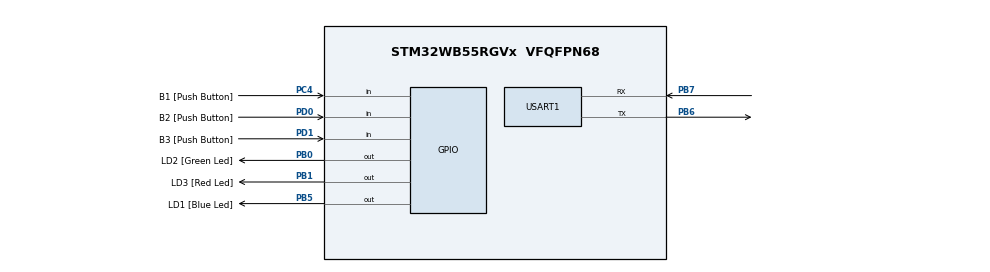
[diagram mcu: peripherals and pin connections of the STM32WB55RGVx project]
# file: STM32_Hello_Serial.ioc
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Mcu.Family=STM32WB
Mcu.Name=STM32WB55RGVx
Mcu.Package=VFQFPN68
NVIC.PriorityGroup=NVIC_PRIORITYGROUP_4
NVIC.USART1_IRQn=true\:0\:0\:false\:false\:true\:true\:true
OSC_IN.Mode=HSE-External-Oscillator
OSC_IN.Signal=RCC_OSC_IN
OSC_OUT.Mode=HSE-External-Oscillator
OSC_OUT.Signal=RCC_OSC_OUT
PA11.Signal=USB_DM
PA12.Signal=USB_DP
PA13.GPIO_Label=JTMS
PA13.Signal=SYS_JTMS-SWDIO
PA14.GPIO_Label=JTCK
PA14.Signal=SYS_JTCK-SWCLK
PB0.GPIO_Label=LD2 [Green Led]
PB0.Signal=GPIO_Output
PB1.GPIO_Label=LD3 [Red Led]
PB1.Signal=GPIO_Output
PB3.GPIO_Label=JTDO
PB3.Signal=SYS_JTDO-SWO
PB5.GPIO_Label=LD1 [Blue Led]
PB5.Signal=GPIO_Output
PB6.Mode=Asynchronous
PB6.Signal=USART1_TX
PB7.Mode=Asynchronous
PB7.Signal=USART1_RX
PC13.Signal=SYS_WKUP2
PC14-OSC32_IN.Signal=RCC_OSC32_IN
PC15-OSC32_OUT.Signal=RCC_OSC32_OUT
PC4.GPIO_Label=B1 [Push Button]
PC4.Signal=GPIO_Input
PD0.GPIO_Label=B2 [Push Button]
PD0.Signal=GPIO_Input
PD1.GPIO_Label=B3 [Push Button]
PD1.Signal=GPIO_Input
ProjectManager.HeapSize=0x200
ProjectManager.StackSize=0x400
ProjectManager.TargetToolchain=Makefile
RCC.ADCFreq_Value=128000000
RCC.AHBFreq_Value=32000000
RCC.APB1Freq_Value=32000000
RCC.APB1TimFreq_Value=32000000
RCC.APB2Freq_Value=32000000
RCC.APB2TimFreq_Value=32000000
RCC.APB3Freq_Value=16000000
RCC.CortexFreq_Value=32000000
RCC.HCLKFreq_Value=32000000
RCC.HSE_VALUE=32000000
RCC.HSI48_VALUE=48000000
RCC.HSI_VALUE=16000000
RCC.LSE_VALUE=32768
RCC.MSIClockRange=RCC_MSIRANGE_10
RCC.SMPSCLockSelectionVirtual=RCC_SMPSCLKSOURCE_HSI
RCC.SYSCLKFreq_VALUE=32000000
RCC.USBFreq_Value=128000000
RCC.VCOOutputFreq_Value=256000000
USART1.VirtualMode-Asynchronous=VM_ASYNC
board=P-NUCLEO-WB55-Nucleo

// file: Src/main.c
/* USER CODE BEGIN Header */
/**
  ******************************************************************************
  * @file           : main.c
  * @brief          : Main program body
  ******************************************************************************
  * @attention
  *
  * <h2><center>&copy; Copyright (c) 2019 STMicroelectronics.
  * All rights reserved.</center></h2>
  *
  * This software component is licensed by ST under BSD 3-Clause license,
  * the "License"; You may not use this file except in compliance with the
  * License. You may obtain a copy of the License at:
  *                        opensource.org/licenses/BSD-3-Clause
  *
  ******************************************************************************
  */
/* USER CODE END Header */

#include "main.h"

UART_HandleTypeDef huart1;

void SystemClock_Config(void);
static void MX_GPIO_Init(void);
static void MX_USART1_UART_Init(void);
/* USER CODE BEGIN PFP */
#ifdef __GNUC__
/* With GCC, small printf (option LD Linker->Libraries->Small printf
   set to 'Yes') calls __io_putchar() */
#define PUTCHAR_PROTOTYPE int __io_putchar(int ch)
#else
#define PUTCHAR_PROTOTYPE int fputc(int ch, FILE *f)
#endif /* __GNUC__ */
void HAL_UART_TxCpltCallback(UART_HandleTypeDef * huart);
/* USER CODE END PFP */

int main(void)
{

  /* MCU Configuration--------------------------------------------------------*/

  /* Reset of all peripherals, Initializes the Flash interface and the Systick. */
  HAL_Init();

  /* Configure the system clock */
  SystemClock_Config();

  /* Initialize all configured peripherals */
  MX_GPIO_Init();
  MX_USART1_UART_Init();
  /* USER CODE BEGIN 2 */

  setbuf(stdout, NULL);
  /* USER CODE END 2 */

  /* Infinite loop */
  while (1)
  {
    printf("\n\r Truth. Love. Plenty. Peace \n\r");
    HAL_Delay(500);
  }
}

void SystemClock_Config(void)
{
  RCC_OscInitTypeDef RCC_OscInitStruct = {0};
  RCC_ClkInitTypeDef RCC_ClkInitStruct = {0};
  RCC_PeriphCLKInitTypeDef PeriphClkInitStruct = {0};

  /** Configure the main internal regulator output voltage
  */
  __HAL_PWR_VOLTAGESCALING_CONFIG(PWR_REGULATOR_VOLTAGE_SCALE1);
  /** Initializes the CPU, AHB and APB busses clocks
  */
  RCC_OscInitStruct.OscillatorType = RCC_OSCILLATORTYPE_HSI|RCC_OSCILLATORTYPE_HSE
                              |RCC_OSCILLATORTYPE_MSI;
  RCC_OscInitStruct.HSEState = RCC_HSE_ON;
  RCC_OscInitStruct.HSIState = RCC_HSI_ON;
  RCC_OscInitStruct.MSIState = RCC_MSI_ON;
  RCC_OscInitStruct.HSICalibrationValue = RCC_HSICALIBRATION_DEFAULT;
  RCC_OscInitStruct.MSICalibrationValue = RCC_MSICALIBRATION_DEFAULT;
  RCC_OscInitStruct.MSIClockRange = RCC_MSIRANGE_10;
  RCC_OscInitStruct.PLL.PLLState = RCC_PLL_NONE;
  if (HAL_RCC_OscConfig(&RCC_OscInitStruct) != HAL_OK)
  {
    Error_Handler();
  }
  /** Configure the SYSCLKSource, HCLK, PCLK1 and PCLK2 clocks dividers
  */
  RCC_ClkInitStruct.ClockType = RCC_CLOCKTYPE_HCLK4|RCC_CLOCKTYPE_HCLK2
                              |RCC_CLOCKTYPE_HCLK|RCC_CLOCKTYPE_SYSCLK
                              |RCC_CLOCKTYPE_PCLK1|RCC_CLOCKTYPE_PCLK2;
  RCC_ClkInitStruct.SYSCLKSource = RCC_SYSCLKSOURCE_MSI;
  RCC_ClkInitStruct.AHBCLKDivider = RCC_SYSCLK_DIV1;
  RCC_ClkInitStruct.APB1CLKDivider = RCC_HCLK_DIV1;
  RCC_ClkInitStruct.APB2CLKDivider = RCC_HCLK_DIV1;
  RCC_ClkInitStruct.AHBCLK2Divider = RCC_SYSCLK_DIV1;
  RCC_ClkInitStruct.AHBCLK4Divider = RCC_SYSCLK_DIV1;

  if (HAL_RCC_ClockConfig(&RCC_ClkInitStruct, FLASH_LATENCY_1) != HAL_OK)
  {
    Error_Handler();
  }
  /** Initializes the peripherals clocks
  */
  PeriphClkInitStruct.PeriphClockSelection = RCC_PERIPHCLK_SMPS|RCC_PERIPHCLK_USART1;
  PeriphClkInitStruct.Usart1ClockSelection = RCC_USART1CLKSOURCE_PCLK2;
  PeriphClkInitStruct.SmpsClockSelection = RCC_SMPSCLKSOURCE_HSI;
  PeriphClkInitStruct.SmpsDivSelection = RCC_SMPSCLKDIV_RANGE1;

  if (HAL_RCCEx_PeriphCLKConfig(&PeriphClkInitStruct) != HAL_OK)
  {
    Error_Handler();
  }
}

static void MX_USART1_UART_Init(void)
{

  huart1.Instance = USART1;
  huart1.Init.BaudRate = 115200;
  huart1.Init.WordLength = UART_WORDLENGTH_7B;
  huart1.Init.StopBits = UART_STOPBITS_1;
  huart1.Init.Parity = UART_PARITY_NONE;
  huart1.Init.Mode = UART_MODE_TX_RX;
  huart1.Init.HwFlowCtl = UART_HWCONTROL_NONE;
  huart1.Init.OverSampling = UART_OVERSAMPLING_16;
  huart1.Init.OneBitSampling = UART_ONE_BIT_SAMPLE_DISABLE;
  huart1.Init.ClockPrescaler = UART_PRESCALER_DIV1;
  huart1.AdvancedInit.AdvFeatureInit = UART_ADVFEATURE_NO_INIT;
  if (HAL_UART_Init(&huart1) != HAL_OK)
  {
    Error_Handler();
  }
  if (HAL_UARTEx_SetTxFifoThreshold(&huart1, UART_TXFIFO_THRESHOLD_1_8) != HAL_OK)
  {
    Error_Handler();
  }
  if (HAL_UARTEx_SetRxFifoThreshold(&huart1, UART_RXFIFO_THRESHOLD_1_8) != HAL_OK)
  {
    Error_Handler();
  }
  if (HAL_UARTEx_DisableFifoMode(&huart1) != HAL_OK)
  {
    Error_Handler();
  }

}

static void MX_GPIO_Init(void)
{
  GPIO_InitTypeDef GPIO_InitStruct = {0};

  /* GPIO Ports Clock Enable */
  __HAL_RCC_GPIOC_CLK_ENABLE();
  __HAL_RCC_GPIOB_CLK_ENABLE();
  __HAL_RCC_GPIOA_CLK_ENABLE();
  __HAL_RCC_GPIOD_CLK_ENABLE();

  /*Configure GPIO pin Output Level */
  HAL_GPIO_WritePin(GPIOB, LD2_Pin|LD3_Pin|LD1_Pin, GPIO_PIN_RESET);

  /*Configure GPIO pin : B1_Pin */
  GPIO_InitStruct.Pin = B1_Pin;
  GPIO_InitStruct.Mode = GPIO_MODE_INPUT;
  GPIO_InitStruct.Pull = GPIO_NOPULL;
  HAL_GPIO_Init(B1_GPIO_Port, &GPIO_InitStruct);

  /*Configure GPIO pins : LD2_Pin LD3_Pin LD1_Pin */
  GPIO_InitStruct.Pin = LD2_Pin|LD3_Pin|LD1_Pin;
  GPIO_InitStruct.Mode = GPIO_MODE_OUTPUT_PP;
  GPIO_InitStruct.Pull = GPIO_NOPULL;
  GPIO_InitStruct.Speed = GPIO_SPEED_FREQ_LOW;
  HAL_GPIO_Init(GPIOB, &GPIO_InitStruct);

  /*Configure GPIO pins : PA11 PA12 */
  GPIO_InitStruct.Pin = GPIO_PIN_11|GPIO_PIN_12;
  GPIO_InitStruct.Mode = GPIO_MODE_AF_PP;
  GPIO_InitStruct.Pull = GPIO_NOPULL;
  GPIO_InitStruct.Speed = GPIO_SPEED_FREQ_LOW;
  GPIO_InitStruct.Alternate = GPIO_AF10_USB;
  HAL_GPIO_Init(GPIOA, &GPIO_InitStruct);

  /*Configure GPIO pins : B2_Pin B3_Pin */
  GPIO_InitStruct.Pin = B2_Pin|B3_Pin;
  GPIO_InitStruct.Mode = GPIO_MODE_INPUT;
  GPIO_InitStruct.Pull = GPIO_NOPULL;
  HAL_GPIO_Init(GPIOD, &GPIO_InitStruct);

}

/* USER CODE BEGIN 4 */
/**
  * @brief  Retargets the C library printf function to the USART.
  * @param  None
  * @retval None
  */
PUTCHAR_PROTOTYPE
{
  /* Place your implementation of fputc here */
  /* e.g. write a character to the USART1 and Loop until the end of transmission */
  if (HAL_UART_Transmit_IT(&huart1, (uint8_t *)&ch, 1) != HAL_OK)
  {
    Error_Handler();
  }

  while (HAL_UART_GetState(&huart1) != HAL_UART_STATE_READY)
  {
  }

  return ch;
}

void HAL_UART_TxCpltCallback(UART_HandleTypeDef * huart)
{
    HAL_GPIO_TogglePin(LD1_GPIO_Port, LD1_Pin);
    HAL_GPIO_WritePin(LD2_GPIO_Port, LD2_Pin, GPIO_PIN_RESET);
}

void HAL_UART_ErrorCallback(UART_HandleTypeDef * huart)
{
    HAL_GPIO_WritePin(LD2_GPIO_Port, LD2_Pin, GPIO_PIN_SET);
}
/* USER CODE END 4 */

void Error_Handler(void)
{
  /* USER CODE BEGIN Error_Handler_Debug */
  /* User can add his own implementation to report the HAL error return state */

  HAL_GPIO_WritePin(LD3_GPIO_Port, LD3_Pin, GPIO_PIN_SET);
  /* USER CODE END Error_Handler_Debug */
}

/************************ (C) COPYRIGHT STMicroelectronics *****END OF FILE****/
